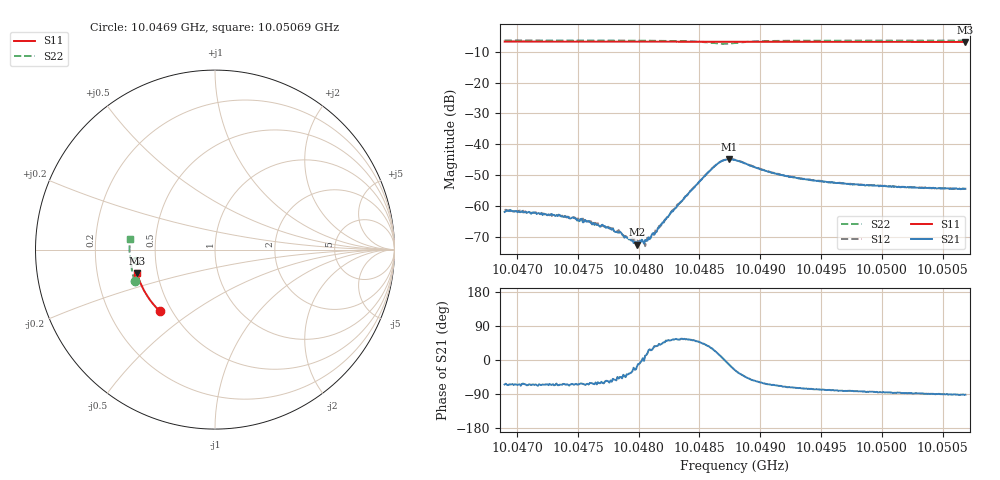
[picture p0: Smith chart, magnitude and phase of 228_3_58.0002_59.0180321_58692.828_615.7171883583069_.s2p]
#  HZ  S  RI  R  50.00
! Rohde & Schwarz Vector Network Analyzer
! Rohde-Schwarz,ZNB20-2Port,1311601062101988,3.16
! Created: UTC 3/21/2024, 1:00:27 AM
! freq[Hz]  re:S11  im:S11  re:S21  im:S21  re:S12  im:S12  re:S22  im:S22
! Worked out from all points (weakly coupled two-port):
!   401 points, 10.0469 GHz to 10.05069 GHz, reference 50 ohm
!   highest |S21| = -44.78 dB at 10.04875 GHz (marker M1); lowest = -72.4 dB at 10.04799 GHz (marker M2)
!   lowest |S11| = -6.9 dB at 10.05069 GHz (marker M3), VSWR 2.66, Z = 19.1 - j6.36 ohm
!   |S11| at or under -10 dB: nowhere
!   |S22| runs from -7.4 to -6.4 dB; largest |S21 - S12| = 0.0004
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1.0046897e10  -0.3072 -0.3434  0.000346 -0.000728  0.00044 -0.000743  -0.4458 -0.1766
1.0046935e10  -0.309 -0.3416  0.00036 -0.00075  0.000445 -0.000734  -0.4467 -0.174
1.0047342e10  -0.3278 -0.3223  0.000292 -0.000668  0.000343 -0.000619  -0.4551 -0.1473
1.0047532e10  -0.3361 -0.313  0.00029 -0.000553  0.000288 -0.000532  -0.4587 -0.1345
1.0047579e10  -0.3382 -0.3107  0.000261 -0.000507  0.000303 -0.000479  -0.4595 -0.1312
1.0047769e10  -0.3462 -0.3009  0.000252 -0.000348  0.000262 -0.00036  -0.4623 -0.1175
1.0047854e10  -0.3499 -0.2964  0.000262 -0.000266  0.000248 -0.000228  -0.4635 -0.1111
1.004792e10  -0.3526 -0.293  0.000235 -0.000169  0.000257 -0.000145  -0.4641 -0.1061
1.0047968e10  -0.3545 -0.2906  0.00024 -0.000115  0.000281 -9.13e-05  -0.4647 -0.1025
1.0047987e10  -0.3553 -0.2896  0.00023 -6.58e-05  0.000271 -6.7e-05  -0.4647 -0.1009
1.0048034e10  -0.3572 -0.2872  0.00027 2.3e-05  0.000274 4.65e-05  -0.4651 -0.0971
1.0048072e10  -0.3586 -0.2851  0.000264 8.37e-05  0.000294 9.04e-05  -0.4653 -0.094
1.0048167e10  -0.3624 -0.2801  0.000328 0.000301  0.000329 0.000345  -0.4656 -0.0857
1.00483e10  -0.3674 -0.2729  0.000529 0.000759  0.000473 0.00078  -0.4644 -0.0731
1.0048584e10  -0.3777 -0.2572  0.00305 0.00212  0.00299 0.00228  -0.4401 -0.0456
1.0048669e10  -0.3804 -0.2524  0.00508 0.00104  0.00503 0.00136  -0.423 -0.053
1.0048745e10  -0.3829 -0.2484  0.00563 -0.00126  0.00573 -0.000923  -0.4217 -0.0716
1.0048792e10  -0.3846 -0.2459  0.00499 -0.00252  0.00518 -0.00219  -0.4296 -0.0795
1.0049105e10  -0.3953 -0.2281  0.00143 -0.00315  0.0016 -0.00308  -0.467 -0.0601
1.0049428e10  -0.405 -0.2093  0.0006 -0.00255  0.000735 -0.00253  -0.4743 -0.0321
1.0050063e10  -0.4215 -0.171  0.000172 -0.00207  0.000247 -0.00208  -0.4761 0.0147
1.0050688e10  -0.4343 -0.1319  -5.68e-05 -0.00191  5.2e-05 -0.00189  -0.4728 0.0573
